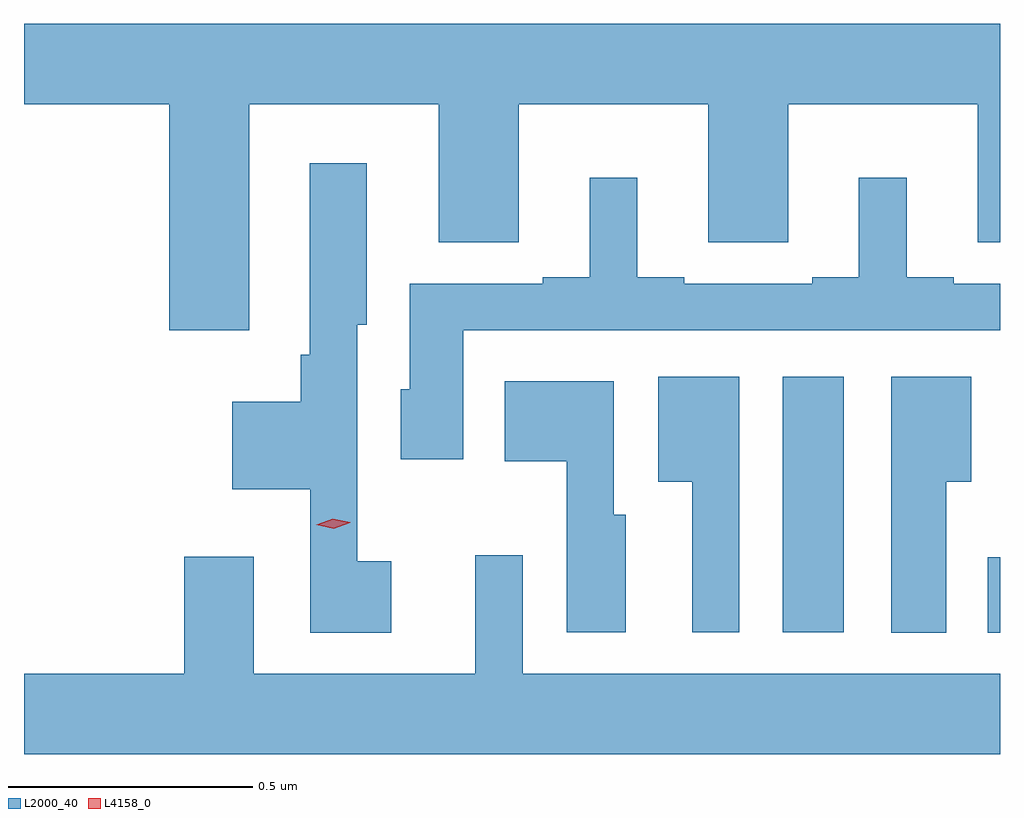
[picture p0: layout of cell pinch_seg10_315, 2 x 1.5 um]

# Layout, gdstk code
import gdstk
lib = gdstk.Library(unit=1e-6, precision=1e-09)
def R(c, l, rs):  # rectangles x0, y0, x1, y1
    for r in rs: c.add(gdstk.rectangle(r[:2], r[2:], *l))
def P(c, l, *ps):  # polygons
    for p in ps: c.add(gdstk.Polygon(p, *l))
L2000_40 = (2000, 40)
L4158_0 = (4158, 0)

pinch_seg10_315 = lib.new_cell('pinch_seg10_315')
R(pinch_seg10_315, L2000_40, [(435.512,1288.577,435.537,1288.731), (435.092,1288.578,435.217,1289.101)])
P(pinch_seg10_315, L2000_40, [(433.999,1289.66),(434.387,1289.66),(434.387,1289.377),(434.551,1289.377),(434.551,1289.66),(434.939,1289.66),(434.939,1289.377),(435.103,1289.377),(435.103,1289.66),(435.491,1289.66),(435.491,1289.377),(435.537,1289.377),(435.537,1289.824),(433.537,1289.824),(433.537,1289.66),(433.835,1289.66),(433.835,1289.196),(433.999,1289.196)],
  [(434.29,1288.723),(434.22,1288.723),(434.22,1289.208),(434.239,1289.208),(434.239,1289.539),(434.123,1289.539),(434.123,1289.146),(434.104,1289.146),(434.104,1289.05),(433.964,1289.05),(433.964,1288.871),(434.124,1288.871),(434.124,1288.577),(434.29,1288.577)],
  [(434.437,1289.196),(435.537,1289.196),(435.537,1289.292),(435.442,1289.292),(435.442,1289.305),(435.346,1289.305),(435.346,1289.509),(435.248,1289.509),(435.248,1289.305),(435.152,1289.305),(435.152,1289.292),(434.89,1289.292),(434.89,1289.305),(434.794,1289.305),(434.794,1289.509),(434.696,1289.509),(434.696,1289.305),(434.6,1289.305),(434.6,1289.292),(434.327,1289.292),(434.327,1289.076),(434.309,1289.076),(434.309,1288.932),(434.437,1288.932)],
  [(435.427,1288.886),(435.478,1288.886),(435.478,1289.101),(435.314,1289.101),(435.314,1288.577),(435.427,1288.577)],
  [(435.003,1289.101),(434.837,1289.101),(434.837,1288.886),(434.906,1288.886),(434.906,1288.578),(435.003,1288.578)],
  [(434.77,1288.818),(434.745,1288.818),(434.745,1289.092),(434.522,1289.092),(434.522,1288.928),(434.649,1288.928),(434.649,1288.578),(434.77,1288.578)],
  [(435.537,1288.492),(434.559,1288.492),(434.559,1288.735),(434.462,1288.735),(434.462,1288.492),(434.008,1288.492),(434.008,1288.732),(433.865,1288.732),(433.865,1288.492),(433.537,1288.492),(433.537,1288.328),(435.537,1288.328)])
P(pinch_seg10_315, L4158_0, [(434.172,1288.79),(434.136,1288.798),(434.136,1288.798),(434.136,1288.798),(434.17,1288.81),(434.206,1288.803),(434.206,1288.803),(434.206,1288.802)])

lib.write_gds('pinch_seg10_315.gds')
